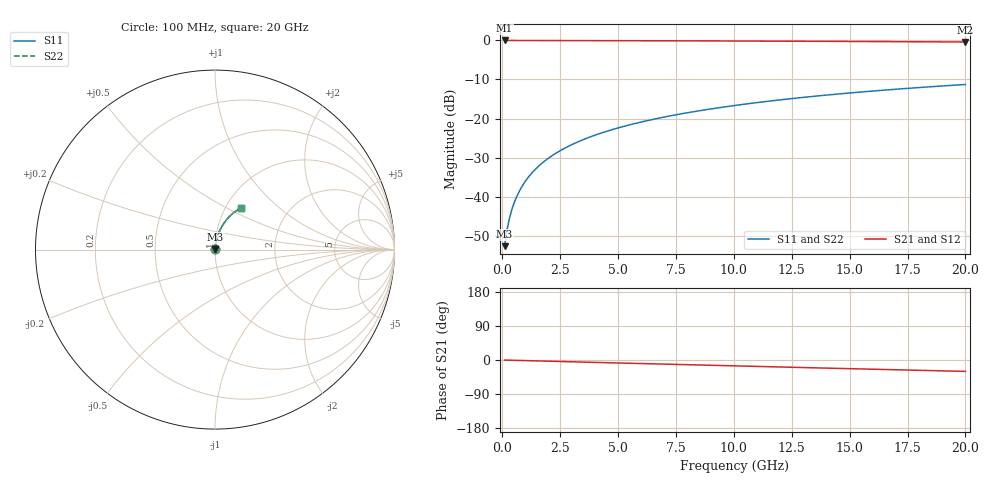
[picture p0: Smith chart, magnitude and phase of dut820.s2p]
! Touchstone file exported from HFSS 2026.1.0
!  File:  C:/ffzhzh/LocalFiles/Ansys_Project_Files/temp_train_BSMRDL_820_1783170039_43440.aedt
!  Generated:  09:01:58 PM Jul  4, 2026
!  Design:  BSMRDL
!  Project:  temp_train_BSMRDL_820_1783170039_43440
! Variables:
!  h_bsmrdl = 5.26um
!  h_ox = 20um
!  h_rdl = 5um
!  h_sub = 80um
!  h_tmrdl = 5um
!  h_tsv = 80um
!  h_via = 3um
!  l_bsmrdl = 434.25um
!  l_sub = 834.25um
!  l_tmrdl = 200um
!  m_sub = 200um
!  pitch = 44.42um
!  r_tsv = 6um
!  s_tmrdl = 10um
!  w_bsmrdl = 20.08um
!  w_sub = 500um
!  w_tmrdl = 12um
!  x_tsv_center1 = 206um
!  x_tsv_center2 = 660.33um
!  x_tsv_center3 = 872.33um
!  x_tsv_center4 = 1326.66um
!  x_tsv_center5 = 1538.66um
!  x_tsv_center6 = 1992.99um
# GHz S MA R 50.000000
! Terminal data exported
! Port[1] = BSM_RDL1_1_T1
! Port[2] = BSM_RDL1_1_T2
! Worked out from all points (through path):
!   200 points, 100 MHz to 20 GHz, reference 50 ohm
!   highest |S21| = -0.01 dB at 100 MHz (marker M1); lowest = -0.4 dB at 20 GHz (marker M2)
!   group delay of S21, straight-line fit = 4.17 ps
!   lowest |S11| = -52.6 dB at 100 MHz (marker M3), VSWR 1.00, Z = 50.2 + j0.169 ohm
!   |S11| at or under -10 dB: start of sweep to end of sweep
!   |S22| runs from -52.6 to -11.3 dB; largest |S21 - S12| = 2.1e-15
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0.1  0.002332 46.4  0.9984 -0.2  0.9984 -0.2  0.002332 46.4
! Gamma 0 0 0 0
! Port Impedance 50 0 50 0
0.2  0.003719 62.4  0.9983 -0.3  0.9983 -0.3  0.003719 62.4
0.3  0.005185 69.4  0.9982 -0.5  0.9982 -0.5  0.005185 69.4
0.4  0.006676 73.4  0.9981 -0.6  0.9981 -0.6  0.006676 73.4
0.5  0.008185 76.0  0.9981 -0.8  0.9981 -0.8  0.008185 76.0
0.6  0.009706 77.7  0.998 -1.0  0.998 -1.0  0.009706 77.7
0.8  0.01277 79.8  0.9979 -1.3  0.9979 -1.3  0.01277 79.8
1.1  0.01739 81.4  0.9978 -1.8  0.9978 -1.8  0.01739 81.4
1.3  0.02048 81.9  0.9976 -2.1  0.9976 -2.1  0.02048 81.9
1.5  0.02356 82.2  0.9975 -2.4  0.9975 -2.4  0.02356 82.2
1.8  0.02817 82.3  0.9972 -2.9  0.9972 -2.9  0.02817 82.3
2.1  0.03276 82.2  0.9969 -3.3  0.9969 -3.3  0.03276 82.2
2.7  0.04187 81.8  0.9963 -4.3  0.9963 -4.3  0.04187 81.8
3.5  0.05387 80.9  0.9952 -5.5  0.9952 -5.5  0.05387 80.9
4.2  0.06424 80.0  0.9942 -6.6  0.9942 -6.6  0.06424 80.0
5  0.07595 79.0  0.9929 -7.9  0.9929 -7.9  0.07595 79.0
6.8  0.1018 76.6  0.9898 -10.6  0.9898 -10.6  0.1018 76.6
8.3  0.123 74.5  0.9868 -12.9  0.9868 -12.9  0.123 74.5
10.1  0.1479 72.0  0.9828 -15.6  0.9828 -15.6  0.1479 72.0
13.4  0.192 67.4  0.9744 -20.5  0.9744 -20.5  0.192 67.4
16.7  0.2338 62.8  0.9646 -25.4  0.9646 -25.4  0.2338 62.8
20  0.2729 58.2  0.9538 -30.1  0.9538 -30.1  0.2729 58.2
